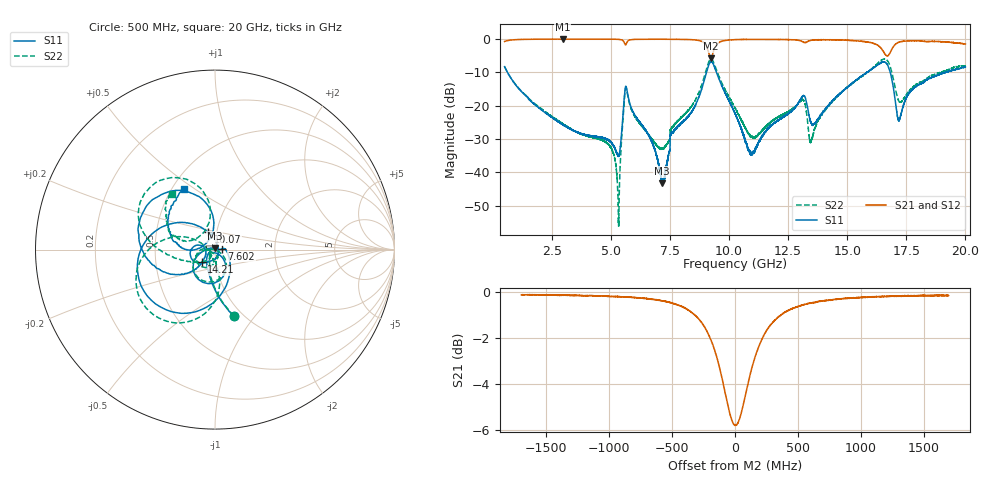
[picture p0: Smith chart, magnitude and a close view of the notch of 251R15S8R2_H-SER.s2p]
!{251R15S8R2}
!Johanson Technology Inc.
!www.johansontechnology.com
!Test Board Conditions:
!Substrate Type  RO4350B
!Substrate Thickness  20 mil
!Substrate Dk  3.66
!TL Type: GCPW
!TL Trace Width  34 mil
!TL Gap  10 mil
!Electrode orientation  Horizontal
!DUT TOPOLOGY	SERIES
!Mounting Pad LxW  26x52 mil
! Created Thu Mar 12 16:44:47 2020
# mhz S ma R 50
! 2 Port Network Data from SP1.SP block
! freq  magS11  angS11  magS21  angS21  magS12  angS12  magS22  angS22
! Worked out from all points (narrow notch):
!   19501 points, 500 MHz to 20 GHz, reference 50 ohm
!   highest |S21| = -0.05 dB at 2.962 GHz (marker M1); lowest = -5.8 dB at 9.226 GHz (marker M2)
!   notch at M2: 5.5 dB deep, 283 MHz wide at half that depth
!   lowest |S11| = -43.3 dB at 7.158 GHz (marker M3), VSWR 1.01, Z = 49.9 + j0.679 ohm
!   |S11| at or under -10 dB: 619.6 MHz to 9.045 GHz (8.425 GHz wide, 174 % of centre); 9.464 GHz to 15.84 GHz (6.375 GHz wide, 50.4 % of centre); 16.82 GHz to 19.16 GHz (2.343 GHz wide, 13 % of centre)
!   |S22| runs from -56.6 to -6.0 dB; largest |S21 - S12| = 0.021
!   S11 on the Smith chart (normalised r, x): 500 MHz: 0.91, -0.79; 7.602 GHz: 1.08, +0.01; 10.07 GHz: 0.91, +0.18; 14.21 GHz: 0.86, -0.12; 20 GHz: 0.58, +0.45
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500  0.3835 -74.3  0.9154 15.1  0.9169 15.1  0.3836 -73.9
2962  0.0518 -143.3  0.9939 -41.6  0.9919 -41.6  0.05352 -124.4
3750  0.03812 -149.5  0.9924 -54.8  0.9914 -54.8  0.03737 -145.5
4949  0.029 -145.6  0.9908 -74.8  0.9897 -74.9  0.02469 -180.0
5304  0.01782 -106.5  0.985 -81.7  0.9853 -81.8  0.003504 -167.5
5660  0.1835 -125.8  0.8626 -80.1  0.8619 -80.1  0.1759 -128.4
7000  0.01413 142.4  0.9892 -106.6  0.9898 -106.7  0.02447 -140.3
7158  0.006846 96.9  0.9895 -109.4  0.989 -109.4  0.02242 -118.4
7602  0.03988 7.5  0.9862 -117.2  0.9875 -117.1  0.04769 -72.9
8863  0.1875 -67.3  0.9108 -147.1  0.9112 -147.1  0.2157 -83.8
9226  0.4588 -146.8  0.5132 -141.4  0.5162 -141.5  0.501 -137.1
10071  0.1046 111.6  0.9663 -147.1  0.9664 -147.2  0.1203 153.7
10250  0.07707 102.2  0.9738 -151.1  0.9726 -151.1  0.092 154.2
10964  0.01914 2.5  0.9831 -164.9  0.9833 -165.0  0.03351 -157.9
13090  0.1364 -152.8  0.9151 155.9  0.9162 155.8  0.1242 -134.8
13500  0.05324 -176.9  0.9605 154.2  0.9576 154.3  0.03123 -132.5
14215  0.1019 -135.9  0.9693 139.6  0.9732 139.4  0.09865 -137.2
15923  0.3294 -160.5  0.8896 104.1  0.8909 104.2  0.331 177.4
16750  0.3775 119.1  0.5731 107.8  0.5636 108.2  0.443 116.0
17197  0.0599 144.0  0.8906 102.9  0.8927 103.4  0.1149 123.3
17890  0.1894 175.4  0.9377 82.9  0.9293 82.4  0.2035 164.3
20000  0.377 117.2  0.8409 39.6  0.8389 39.9  0.3917 127.6
